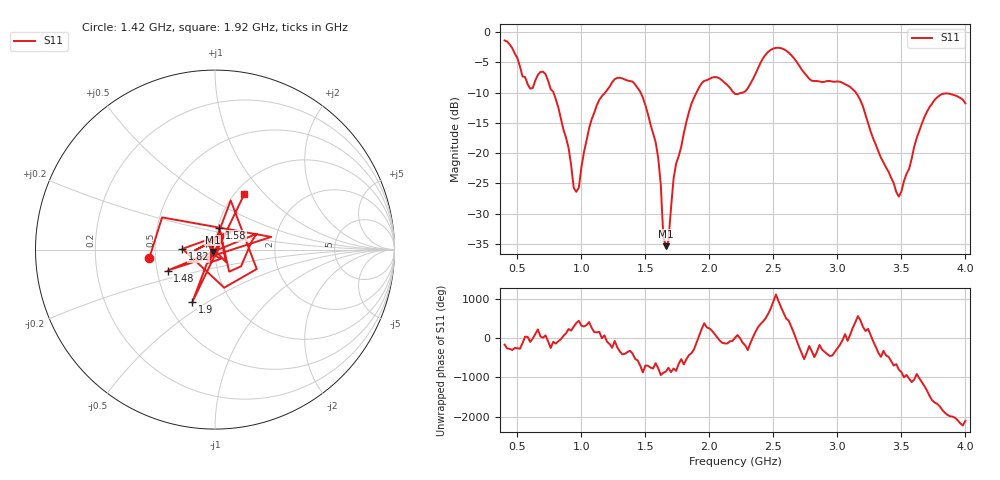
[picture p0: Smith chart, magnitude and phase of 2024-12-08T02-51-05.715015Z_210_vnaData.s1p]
!Created with skrf (http://scikit-rf.org).
# Hz S RI R 50.0
!freq ReS11 ImS11
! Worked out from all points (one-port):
!   181 points, 400 MHz to 4 GHz, reference 50 ohm
!   lowest |S11| = -35.4 dB at 1.66 GHz (marker M1), VSWR 1.03, Z = 48.8 - j1.22 ohm
!   |S11| at or under -10 dB: 782.4 MHz to 1.185 GHz (402.6 MHz wide, 40.9 % of centre); 1.463 GHz to 1.899 GHz (435.6 MHz wide, 25.9 % of centre); 3.145 GHz to end of sweep (the widest 3 of 4)
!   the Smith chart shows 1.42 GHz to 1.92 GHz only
!   S11 on the Smith chart (normalised r, x): 1.42 GHz: 0.46, -0.05; 1.48 GHz: 0.57, -0.14; 1.58 GHz: 1.02, +0.25; 1.82 GHz: 0.69, +0.01; 1.9 GHz: 0.66, -0.43; 1.92 GHz: 1.10, +0.78
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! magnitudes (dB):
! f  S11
! 400 MHz  -1.4
! 600 MHz  -9.3
! 720 MHz  -6.9
! 860 MHz  -16.1
! 960 MHz  -26.4
! 1.12 GHz  -12.1
! 1.3 GHz  -7.5
! 1.42 GHz  -8.7
! 1.48 GHz  -10.8
! 1.58 GHz  -18.2
! 1.62 GHz  -25.2
! 1.64 GHz  -33.8
! 1.66 GHz  -35.4
! 1.68 GHz  -34.5
! 1.72 GHz  -24.2
! 1.76 GHz  -20.5
! 1.82 GHz  -14.8
! 1.9 GHz  -9.9
! 1.92 GHz  -9.1
! 2.2 GHz  -10.2
! 2.48 GHz  -2.9
! 2.66 GHz  -4.3
! 2.8 GHz  -8.0
! 3.1 GHz  -9.1
! 3.48 GHz  -27.2
! 3.56 GHz  -22.6
! 3.76 GHz  -11.2
! 4 GHz  -11.8
